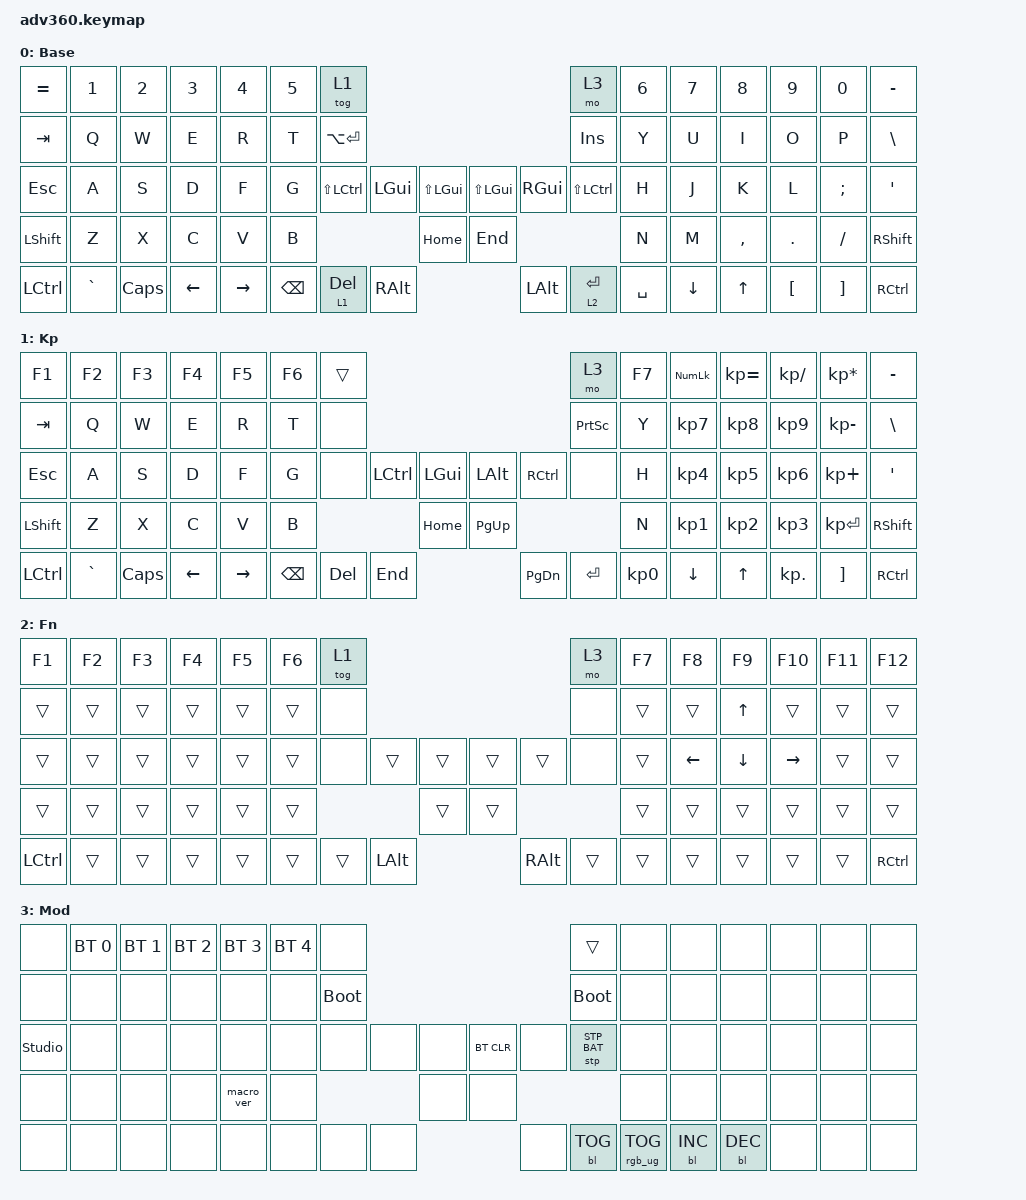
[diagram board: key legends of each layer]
#include <behaviors.dtsi>
#include <dt-bindings/zmk/keys.h>
#include <dt-bindings/zmk/bt.h>
#include <dt-bindings/zmk/rgb.h>
#include <dt-bindings/zmk/stp.h>
#include <dt-bindings/zmk/backlight.h>
#include <dt-bindings/zmk/pointing.h>

#define SLCTRL    LS(LCTRL)
#define SLGUI    LS(LGUI)
#define ALENTER   LA(ENTER)

&lt {
    quick_tap_ms = <200>;
};

/ {
    behaviors {
      #include "macros.dtsi"
      #include "version.dtsi"

      hm: homerow_mods {
          compatible = "zmk,behavior-hold-tap";
          label = "HOMEROW_MODS";
          #binding-cells = <2>;
          tapping-term-ms = <200>;
          quick_tap_ms = <175>;
          flavor = "tap-preferred";
          bindings = <&kp>, <&kp>;
      };
    };

  keymap {
    compatible = "zmk,keymap";

    default_layer {
      display-name = "Base";
      bindings = <
        &kp EQUAL &kp N1    &kp N2   &kp N3   &kp N4     &kp N5 &tog 1                                                            &mo 3      &kp N6 &kp N7   &kp N8    &kp N9   &kp N0   &kp MINUS
        &kp TAB   &kp Q     &kp W    &kp E    &kp R      &kp T  &kp ALENTER                                                       &kp INSERT &kp Y  &kp U    &kp I     &kp O    &kp P    &kp BSLH
        &kp ESC   &kp A     &kp S    &kp D    &kp F      &kp G  &kp SLCTRL      &kp LGUI  &kp SLGUI &kp SLGUI &kp RGUI            &kp SLCTRL &kp H  &kp J    &kp K     &kp L    &kp SEMI &kp SQT
        &kp LSHFT &kp Z     &kp X    &kp C    &kp V      &kp B                            &kp HOME  &kp END                                  &kp N  &kp M    &kp COMMA &kp DOT  &kp FSLH &kp RSHFT
        &kp LCTRL &kp GRAVE &kp CAPS &kp LEFT &kp RIGHT                &kp BSPC &lt 1 DEL &kp RALT  &kp LALT &lt 2 ENTER &kp SPACE                  &kp DOWN &kp UP    &kp LBKT &kp RBKT &kp RCTRL 
      >;
    };
    keypad {
      display-name = "Kp";
      bindings = <
        &kp F1    &kp F2    &kp F3   &kp F4   &kp F5     &kp F6 &trans                                                           &mo 3           &kp F7 &kp KP_NUM &kp KP_EQUAL &kp KP_DIVIDE &kp KP_MULTIPLY &kp MINUS
        &kp TAB   &kp Q     &kp W    &kp E    &kp R      &kp T  &none                                                            &kp PRINTSCREEN &kp Y  &kp KP_N7  &kp KP_N8    &kp KP_N9     &kp KP_MINUS    &kp BSLH
        &kp ESC   &kp A     &kp S    &kp D    &kp F      &kp G  &none           &kp LCTRL &kp LGUI &kp LALT  &kp RCTRL           &none           &kp H  &kp KP_N4  &kp KP_N5    &kp KP_N6     &kp KP_PLUS     &kp SQT
        &kp LSHFT &kp Z     &kp X    &kp C    &kp V      &kp B                            &kp HOME &kp PG_UP                                     &kp N  &kp KP_N1  &kp KP_N2    &kp KP_N3     &kp KP_ENTER    &kp RSHFT
        &kp LCTRL &kp GRAVE &kp CAPS &kp LEFT &kp RIGHT                &kp BSPC &kp DEL   &kp END  &kp PG_DN &kp ENTER &kp KP_N0                        &kp DOWN   &kp UP       &kp KP_DOT    &kp RBKT        &kp RCTRL
      >;
    };
    fn {
      display-name = "Fn";
      bindings = <
        &kp F1    &kp F2 &kp F3 &kp F4 &kp F5 &kp F6 &tog 1                                             &mo 3 &kp F7 &kp F8   &kp F9   &kp F10   &kp F11 &kp F12
        &trans    &trans &trans &trans &trans &trans  &none                                             &none &trans &trans   &kp UP   &trans    &trans  &trans
        &trans    &trans &trans &trans &trans &trans  &none        &trans &trans   &trans &trans        &none &trans &kp LEFT &kp DOWN &kp RIGHT &trans  &trans
        &trans    &trans &trans &trans &trans &trans                      &trans   &trans                     &trans &trans   &trans   &trans    &trans  &trans
        &kp LCTRL &trans &trans &trans &trans               &trans &trans &kp LALT &kp RALT &trans &trans            &trans   &trans   &trans    &trans  &kp RCTRL
      >;
    };
    mod {
      display-name = "Mod";
      bindings = <
        &none          &bt BT_SEL 0 &bt BT_SEL 1 &bt BT_SEL 2 &bt BT_SEL 3 &bt BT_SEL 4 &none                                                          &trans       &none &none      &none      &none &none &none
        &none          &none        &none        &none        &none        &none        &bootloader                                                    &bootloader  &none &none      &none      &none &none &none
        &studio_unlock &none        &none        &none        &none        &none        &none       &none &none &bt BT_CLR &none                       &stp STP_BAT &none &none      &none      &none &none &none
        &none          &none        &none        &none        &macro_ver   &none                                &none &none                                         &none &none      &none      &none &none &none
        &none          &none        &none        &none        &none                                 &none &none &none &none &bl BL_TOG &rgb_ug RGB_TOG                    &bl BL_INC &bl BL_DEC &none &none &none
      >;
    };
    extra1 { 
      display-name = "Red";    
      status = "reserved";
    };

    extra2 { 
      display-name = "Purple";    
      status = "reserved";
    };

    extra3 { 
      display-name = "Cyan";    
      status = "reserved";
    };

    extra4 { 
      display-name = "Yellow";    
      status = "reserved";
    };
  };
};
